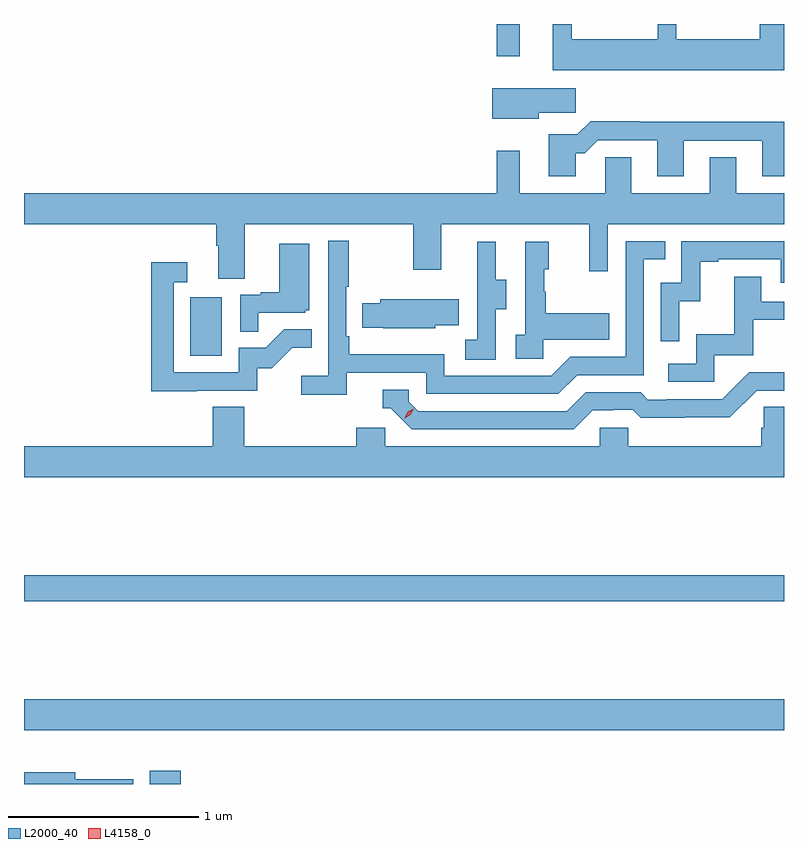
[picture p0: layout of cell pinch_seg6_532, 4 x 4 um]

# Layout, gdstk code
import gdstk
lib = gdstk.Library(unit=1e-6, precision=1e-09)
def R(c, l, rs):  # rectangles x0, y0, x1, y1
    for r in rs: c.add(gdstk.rectangle(r[:2], r[2:], *l))
def P(c, l, *ps):  # polygons
    for p in ps: c.add(gdstk.Polygon(p, *l))
L2000_40 = (2000, 40)
L4158_0 = (4158, 0)

pinch_seg6_532 = lib.new_cell('pinch_seg6_532')
R(pinch_seg6_532, L2000_40, [(849.533,920.414,849.694,920.485), (848.87,920.696,852.87,920.86), (848.87,921.376,852.87,921.512), (849.746,922.668,849.91,922.975), (851.358,924.243,851.479,924.414)])
P(pinch_seg6_532, L2000_40, [(852.87,924.414),(852.743,924.414),(852.743,924.334),(852.304,924.334),(852.304,924.414),(852.206,924.414),(852.206,924.334),(851.752,924.334),(851.752,924.414),(851.654,924.414),(851.654,924.17),(852.87,924.17)],
  [(851.578,923.947),(851.773,923.947),(851.773,924.076),(851.334,924.076),(851.334,923.915),(851.578,923.915)],
  [(851.773,923.735),(851.822,923.735),(851.889,923.802),(852.203,923.802),(852.203,923.613),(852.343,923.613),(852.343,923.799),(852.755,923.799),(852.755,923.613),(852.87,923.613),(852.87,923.9),(852.107,923.9),(852.107,923.903),(851.852,923.903),(851.782,923.833),(851.633,923.833),(851.633,923.613),(851.773,923.613)],
  [(851.928,923.524),(851.479,923.524),(851.479,923.746),(851.358,923.746),(851.358,923.524),(848.87,923.524),(848.87,923.36),(849.881,923.36),(849.881,923.248),(849.893,923.248),(849.893,923.074),(850.033,923.074),(850.033,923.36),(850.918,923.36),(850.918,923.121),(851.065,923.121),(851.065,923.36),(851.846,923.36),(851.846,923.112),(851.943,923.112),(851.943,923.36),(852.87,923.36),(852.87,923.524),(852.619,923.524),(852.619,923.714),(852.479,923.714),(852.479,923.524),(852.067,923.524),(852.067,923.714),(851.928,923.714)],
  [(850.568,922.578),(850.986,922.578),(850.986,922.467),(851.683,922.467),(851.782,922.566),(852.132,922.566),(852.132,923.175),(852.245,923.175),(852.245,923.271),(852.036,923.271),(852.036,922.662),(851.745,922.662),(851.646,922.563),(851.082,922.563),(851.082,922.675),(850.583,922.675),(850.583,922.771),(850.566,922.771),(850.566,923.032),(850.579,923.032),(850.579,923.272),(850.47,923.272),(850.47,922.564),(850.329,922.564),(850.329,922.462),(850.568,922.462)],
  [(852.318,922.955),(852.428,922.955),(852.428,923.163),(852.523,923.163),(852.523,923.175),(852.852,923.175),(852.852,923.052),(852.87,923.052),(852.87,923.271),(852.33,923.271),(852.33,923.052),(852.222,923.052),(852.222,922.743),(852.318,922.743)],
  [(851.604,922.751),(851.951,922.751),(851.951,922.891),(851.617,922.891),(851.617,923.006),(851.607,923.006),(851.607,923.124),(851.632,923.124),(851.632,923.269),(851.508,923.269),(851.508,922.778),(851.457,922.778),(851.457,922.653),(851.604,922.653)],
  [(851.352,922.912),(851.407,922.912),(851.407,923.067),(851.353,923.067),(851.353,923.269),(851.255,923.269),(851.255,923.055),(851.256,923.055),(851.256,922.751),(851.193,922.751),(851.193,922.648),(851.352,922.648)],
  [(850.103,922.893),(850.35,922.893),(850.35,922.908),(850.372,922.908),(850.372,923.257),(850.214,923.257),(850.214,923.002),(850.115,923.002),(850.115,922.989),(850.008,922.989),(850.008,922.795),(850.103,922.795)],
  [(849.779,922.485),(850.098,922.485),(850.098,922.602),(850.174,922.602),(850.281,922.709),(850.385,922.709),(850.385,922.808),(850.241,922.808),(850.143,922.71),(849.999,922.71),(849.999,922.581),(849.657,922.581),(849.657,923.055),(849.73,923.055),(849.73,923.161),(849.541,923.161),(849.541,922.48),(849.779,922.48)],
  [(852.504,922.671),(852.709,922.671),(852.709,922.857),(852.87,922.857),(852.87,922.953),(852.751,922.953),(852.751,923.083),(852.607,923.083),(852.607,922.78),(852.408,922.78),(852.408,922.626),(852.261,922.626),(852.261,922.53),(852.504,922.53)],
  [(851.034,922.829),(851.159,922.829),(851.159,922.966),(850.745,922.966),(850.745,922.944),(850.651,922.944),(850.651,922.815),(850.762,922.815),(850.762,922.814),(851.034,922.814)],
  [(851.863,922.38),(851.97,922.38),(851.97,922.383),(852.073,922.383),(852.115,922.341),(852.348,922.341),(852.348,922.343),(852.584,922.343),(852.726,922.485),(852.87,922.485),(852.87,922.581),(852.687,922.581),(852.546,922.44),(852.253,922.44),(852.253,922.437),(852.154,922.437),(852.115,922.476),(851.826,922.476),(851.727,922.377),(850.944,922.377),(850.896,922.425),(850.896,922.488),(850.757,922.488),(850.757,922.392),(850.8,922.392),(850.911,922.281),(851.764,922.281)],
  [(852.87,922.4),(852.763,922.4),(852.763,922.29),(852.749,922.29),(852.749,922.192),(852.051,922.192),(852.051,922.29),(851.901,922.29),(851.901,922.192),(850.77,922.192),(850.77,922.29),(850.619,922.29),(850.619,922.192),(850.028,922.192),(850.028,922.4),(849.863,922.4),(849.863,922.192),(848.87,922.192),(848.87,922.028),(852.87,922.028)],
  [(849.444,920.438),(849.139,920.438),(849.139,920.476),(848.87,920.476),(848.87,920.414),(849.444,920.414)])
P(pinch_seg6_532, L4158_0, [(850.873,922.339),(850.873,922.339),(850.889,922.372),(850.92,922.39),(850.921,922.39),(850.921,922.39),(850.904,922.358),(850.873,922.339)])

lib.write_gds('pinch_seg6_532.gds')
